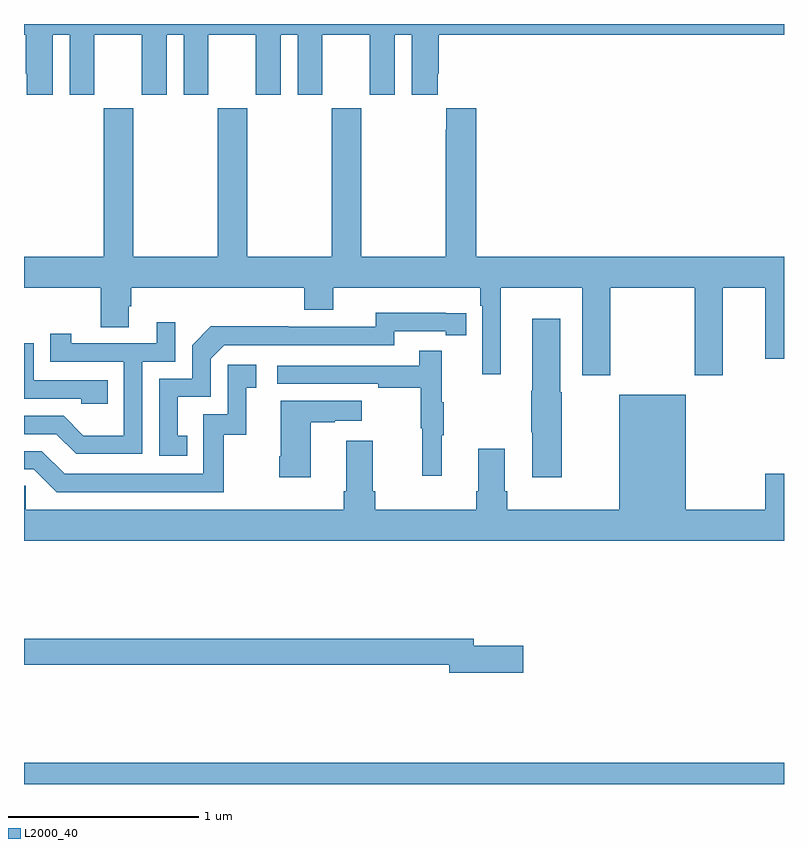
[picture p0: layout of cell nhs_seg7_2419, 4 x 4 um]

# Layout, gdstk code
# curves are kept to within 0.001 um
import gdstk
lib = gdstk.Library(unit=1e-6, precision=1e-09)
def R(c, l, rs):  # rectangles x0, y0, x1, y1
    for r in rs: c.add(gdstk.rectangle(r[:2], r[2:], *l))
def P(c, l, *ps):  # polygons
    for p in ps: c.add(gdstk.Polygon(p, *l))
L2000_40 = (2000, 40)

nhs_seg7_2419 = lib.new_cell('nhs_seg7_2419')
R(nhs_seg7_2419, L2000_40, [(269,1002,273,1002.112)])
P(nhs_seg7_2419, L2000_40, [(269.152,1005.944),(269.24,1005.944),(269.24,1005.627),(269.371,1005.627),(269.371,1005.944),(269.621,1005.944),(269.621,1005.627),(269.752,1005.627),(269.752,1005.944),(269.84,1005.944),(269.84,1005.627),(269.971,1005.627),(269.971,1005.944),(270.221,1005.944),(270.221,1005.627),(270.352,1005.627),(270.352,1005.944),(270.44,1005.944),(270.44,1005.627),(270.571,1005.627),(270.571,1005.944),(270.821,1005.944),(270.821,1005.627),(270.952,1005.627),(270.952,1005.944),(271.04,1005.944),(271.04,1005.627),(271.177,1005.627),(271.177,1005.739),(271.184,1005.739),(271.184,1005.944),(273,1005.944),(273,1006),(269,1006),(269,1005.944),(269.009,1005.944),(269.009,1005.739),(269.015,1005.739),(269.015,1005.627),(269.152,1005.627)],
  [(272.085,1004.612),(272.53,1004.612),(272.53,1004.151),(272.677,1004.151),(272.677,1004.612),(272.9,1004.612),(272.9,1004.238),(273,1004.238),(273,1004.776),(271.379,1004.776),(271.379,1005.556),(271.223,1005.556),(271.223,1005.443),(271.219,1005.443),(271.219,1004.776),(270.774,1004.776),(270.774,1005.556),(270.619,1005.556),(270.619,1004.776),(270.174,1004.776),(270.174,1005.556),(270.019,1005.556),(270.019,1004.776),(269.574,1004.776),(269.574,1005.556),(269.419,1005.556),(269.419,1004.776),(269,1004.776),(269,1004.612),(269.404,1004.612),(269.404,1004.404),(269.551,1004.404),(269.551,1004.514),(269.564,1004.514),(269.564,1004.612),(270.476,1004.612),(270.476,1004.495),(270.628,1004.495),(270.628,1004.612),(271.4,1004.612),(271.4,1004.516),(271.413,1004.516),(271.413,1004.157),(271.51,1004.157),(271.51,1004.612),(271.937,1004.612),(271.937,1004.151),(272.085,1004.151)],
  [(269.858,1003.833),(269.809,1003.833),(269.809,1004.037),(269.982,1004.037),(269.982,1004.238),(270.054,1004.31),(270.948,1004.31),(270.948,1004.382),(271.22,1004.382),(271.22,1004.362),(271.328,1004.362),(271.328,1004.478),(270.852,1004.479),(270.852,1004.406),(270.392,1004.406),(270.392,1004.408),(269.984,1004.408),(269.886,1004.31),(269.886,1004.133),(269.712,1004.133),(269.712,1003.728),(269.858,1003.728)],
  [(271.83,1004.063),(271.822,1004.063),(271.822,1004.449),(271.676,1004.449),(271.676,1004.069),(271.669,1004.069),(271.669,1003.852),(271.676,1003.852),(271.676,1003.614),(271.83,1003.614)],
  [(269.622,1004.223),(269.796,1004.223),(269.796,1004.431),(269.699,1004.431),(269.699,1004.319),(269.248,1004.319),(269.248,1004.371),(269.137,1004.371),(269.137,1004.223),(269.526,1004.223),(269.526,1003.834),(269.312,1003.834),(269.208,1003.938),(269,1003.938),(269,1003.842),(269.171,1003.842),(269.276,1003.737),(269.622,1003.737)],
  [(269.441,1004.124),(269.052,1004.124),(269.052,1004.319),(269,1004.319),(269,1004.028),(269.301,1004.028),(269.301,1004.001),(269.441,1004.001)],
  [(271.199,1003.835),(271.21,1003.835),(271.21,1004.009),(271.199,1004.009),(271.199,1004.281),(271.081,1004.281),(271.081,1004.202),(270.333,1004.202),(270.333,1004.106),(270.865,1004.106),(270.865,1004.086),(271.089,1004.086),(271.089,1003.872),(271.096,1003.872),(271.096,1003.623),(271.199,1003.623)],
  [(270.052,1003.839),(270.17,1003.839),(270.17,1004.085),(270.223,1004.085),(270.223,1004.206),(270.072,1004.206),(270.072,1003.947),(269.943,1003.947),(269.943,1003.632),(269.214,1003.632),(269.094,1003.752),(269,1003.752),(269,1003.656),(269.052,1003.656),(269.172,1003.536),(270.052,1003.536)],
  [(273,1003.633),(272.9,1003.633),(272.9,1003.444),(272.482,1003.444),(272.482,1004.05),(272.132,1004.05),(272.132,1003.444),(271.544,1003.444),(271.544,1003.54),(271.531,1003.54),(271.531,1003.765),(271.391,1003.765),(271.391,1003.54),(271.379,1003.54),(271.379,1003.444),(270.848,1003.444),(270.848,1003.54),(270.835,1003.54),(270.835,1003.807),(270.695,1003.807),(270.695,1003.54),(270.683,1003.54),(270.683,1003.444),(269.01,1003.444),(269.01,1003.571),(269,1003.571),(269,1003.28),(273,1003.28)],
  [(270.508,1003.903),(270.635,1003.903),(270.635,1003.913),(270.778,1003.913),(270.778,1004.017),(270.35,1004.017),(270.35,1003.726),(270.343,1003.726),(270.343,1003.614),(270.508,1003.614)],
  [(271.627,1002.728),(271.366,1002.728),(271.366,1002.764),(269,1002.764),(269,1002.628),(271.238,1002.628),(271.238,1002.586),(271.627,1002.586)])

lib.write_gds('nhs_seg7_2419.gds')
